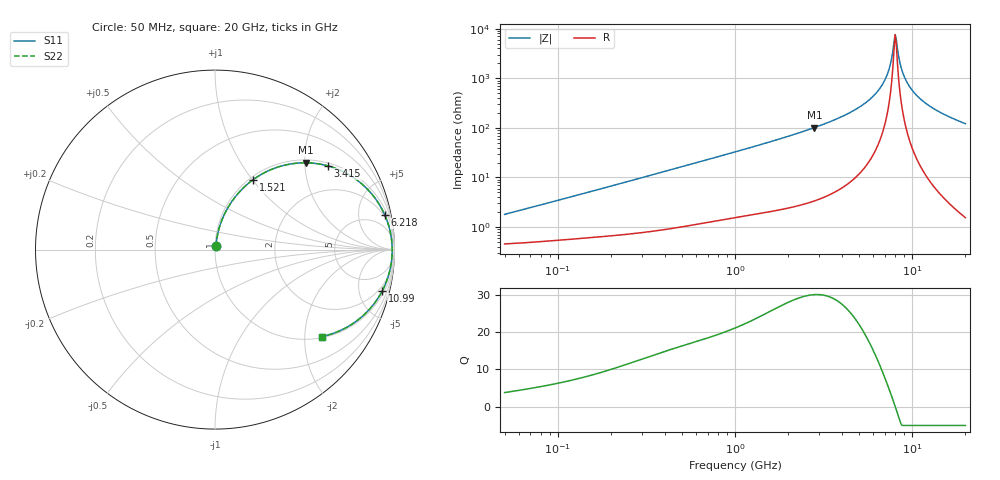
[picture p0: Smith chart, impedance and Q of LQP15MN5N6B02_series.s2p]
!Murata Part Number: LQP15MN5N6B02
!These Parameters are Measured in Series Mode Connection
!  o--[Z]--o
!Port1  Port2
!  o-------o
!Freq. Start=50[MHz] Stop=20[GHz], 401[Steps]
# Hz S RI R 50
!Freq.(Hz) S11(Real) S11(Imag) S21(Real) S21(Imag) S12(Real) S12(Imag) S22(Real) S22(Imag)
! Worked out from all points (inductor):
!   401 points, 50 MHz to 20 GHz, reference 50 ohm
!   read as one part in series: L = 5.52 nH near 51.52 MHz
!   highest Q = 30.1 at 2.811 GHz (marker M1), where L = 5.74 nH
!   self-resonance near 8.021 GHz
!   S11 on the Smith chart (normalised r, x): 50 MHz: 1.01, +0.03; 1.521 GHz: 1.04, +1.01; 3.415 GHz: 1.09, +2.63; 6.218 GHz: 1.71, +9.72; 10.99 GHz: 1.37, -7.99; 20 GHz: 1.03, -2.43
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5e7  0.00486 0.0173  0.9951 -0.0173  0.9951 -0.0173  0.00486 0.0173
1.364002e8  0.00799 0.0455  0.992 -0.0455  0.992 -0.0455  0.00799 0.0455
3.721004e8  0.023 0.1191  0.977 -0.1191  0.977 -0.1191  0.023 0.1191
1e9  0.1077 0.2872  0.8923 -0.2872  0.8923 -0.2872  0.1077 0.2872
1.521052e9  0.2115 0.389  0.7885 -0.389  0.7885 -0.389  0.2115 0.389
2.728004e9  0.4886 0.4835  0.5114 -0.4835  0.5114 -0.4835  0.4886 0.4835
2.810964e9  0.5069 0.4836  0.4931 -0.4836  0.4931 -0.4836  0.5069 0.4836
3.415248e9  0.6305 0.466  0.3695 -0.466  0.3695 -0.466  0.6305 0.466
4.89267e9  0.8469 0.3388  0.1531 -0.3388  0.1531 -0.3388  0.8469 0.3388
6.217679e9  0.9468 0.191  0.0532 -0.191  0.0532 -0.191  0.9468 0.191
6.905011e9  0.9725 0.1155  0.0275 -0.1155  0.0275 -0.1155  0.9725 0.1155
7.442007e9  0.9832 0.0592  0.0168 -0.0592  0.0168 -0.0592  0.9832 0.0592
7.901521e9  0.9869 0.0134  0.0131 -0.0134  0.0131 -0.0134  0.9869 0.0134
8.020766e9  0.9872 0.00191  0.0128 -0.00191  0.0128 -0.00191  0.9872 0.00191
8.141811e9  0.9872 -0.00959  0.0128 0.00959  0.0128 0.00959  0.9872 -0.00959
8.264682e9  0.9869 -0.0211  0.0131 0.0211  0.0131 0.0211  0.9869 -0.0211
8.644534e9  0.9845 -0.0555  0.0155 0.0555  0.0155 0.0555  0.9845 -0.0555
9.041845e9  0.9796 -0.0897  0.0204 0.0897  0.0204 0.0897  0.9796 -0.0897
9.745021e9  0.9662 -0.1455  0.0338 0.1455  0.0338 0.1455  0.9662 -0.1455
1.098561e10  0.9317 -0.2302  0.0683 0.2302  0.0683 0.2302  0.9317 -0.2302
1.417136e10  0.8128 -0.3786  0.1872 0.3786  0.1872 0.3786  0.8128 -0.3786
2e10  0.5957 -0.4844  0.4043 0.4844  0.4043 0.4844  0.5957 -0.4844
